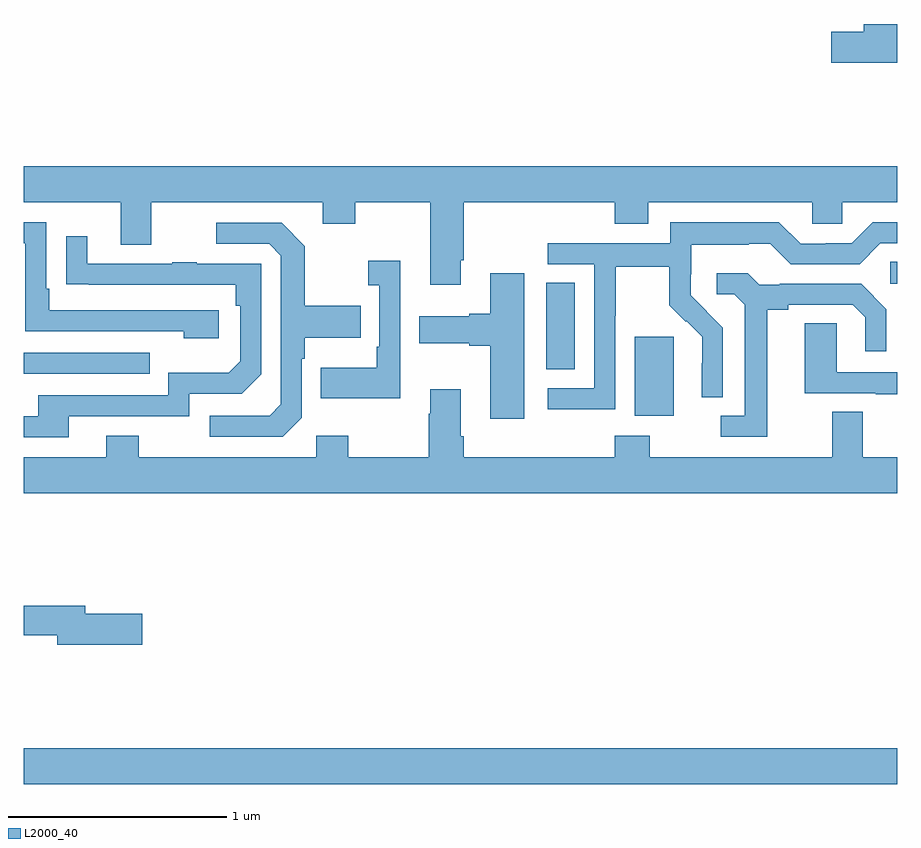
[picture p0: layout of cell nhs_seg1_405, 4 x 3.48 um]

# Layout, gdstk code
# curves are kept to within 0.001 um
import gdstk
lib = gdstk.Library(unit=1e-6, precision=1e-09)
def R(c, l, rs):  # rectangles x0, y0, x1, y1
    for r in rs: c.add(gdstk.rectangle(r[:2], r[2:], *l))
def P(c, l, *ps):  # polygons
    for p in ps: c.add(gdstk.Polygon(p, *l))
L2000_40 = (2000, 40)

nhs_seg1_405 = lib.new_cell('nhs_seg1_405')
R(nhs_seg1_405, L2000_40, [(133,546.404,137,546.568), (135.797,548.09,135.976,548.451), (133,548.283,133.577,548.379), (135.392,548.302,135.523,548.699), (136.968,548.694,137,548.795)])
P(nhs_seg1_405, L2000_40, [(137,549.884),(136.847,549.884),(136.847,549.848),(136.698,549.848),(136.698,549.706),(137,549.706)],
  [(135.001,548.803),(135.014,548.803),(135.014,549.068),(135.707,549.068),(135.707,548.969),(135.859,548.969),(135.859,549.068),(136.611,549.068),(136.611,548.97),(136.749,548.97),(136.749,549.068),(137,549.068),(137,549.232),(133,549.232),(133,549.068),(133.445,549.068),(133.445,548.874),(133.585,548.874),(133.585,549.068),(134.369,549.068),(134.369,548.969),(134.517,548.969),(134.517,549.068),(134.861,549.068),(134.861,548.691),(135.001,548.691)],
  [(135.708,548.548),(135.711,548.548),(135.711,548.772),(135.955,548.772),(135.955,548.597),(136.032,548.52),(136.035,548.523),(136.106,548.453),(136.106,548.33),(136.104,548.33),(136.104,548.176),(136.2,548.176),(136.2,548.494),(136.054,548.642),(136.054,548.739),(136.056,548.739),(136.056,548.873),(136.319,548.873),(136.319,548.877),(136.419,548.877),(136.512,548.784),(136.827,548.784),(136.923,548.88),(137,548.88),(137,548.976),(136.887,548.976),(136.791,548.88),(136.673,548.88),(136.673,548.877),(136.557,548.877),(136.457,548.977),(135.96,548.977),(135.96,548.88),(135.399,548.88),(135.399,548.784),(135.612,548.784),(135.612,548.217),(135.399,548.217),(135.399,548.119),(135.708,548.119)],
  [(133.894,548.574),(133.117,548.574),(133.117,548.671),(133.104,548.671),(133.104,548.976),(133,548.976),(133,548.88),(133.008,548.88),(133.008,548.478),(133.733,548.478),(133.733,548.444),(133.894,548.444)],
  [(134.274,548.082),(134.274,548.351),(134.287,548.351),(134.287,548.447),(134.543,548.447),(134.543,548.595),(134.287,548.595),(134.287,548.867),(134.181,548.973),(133.881,548.973),(133.881,548.877),(134.124,548.877),(134.178,548.823),(134.178,548.142),(134.127,548.091),(133.851,548.091),(133.851,547.995),(134.187,547.995)],
  [(133.207,548.088),(133.758,548.088),(133.758,548.19),(133.998,548.19),(134.088,548.28),(134.088,548.787),(133.793,548.787),(133.793,548.792),(133.681,548.792),(133.681,548.787),(133.291,548.787),(133.291,548.911),(133.195,548.911),(133.195,548.692),(133.972,548.691),(133.972,548.594),(133.992,548.594),(133.992,548.34),(133.939,548.287),(133.662,548.287),(133.662,548.184),(133.067,548.184),(133.067,548.088),(133,548.088),(133,547.992),(133.207,547.992)],
  [(134.724,548.8),(134.577,548.8),(134.577,548.687),(134.628,548.687),(134.628,548.407),(134.616,548.407),(134.616,548.311),(134.359,548.311),(134.359,548.171),(134.724,548.171)],
  [(136.405,548.576),(136.501,548.576),(136.501,548.598),(136.796,548.598),(136.853,548.541),(136.853,548.385),(136.95,548.385),(136.95,548.578),(136.834,548.694),(136.462,548.694),(136.462,548.691),(136.368,548.691),(136.316,548.743),(136.173,548.743),(136.173,548.646),(136.254,548.646),(136.301,548.599),(136.301,548.091),(136.191,548.091),(136.191,547.995),(136.405,547.995)],
  [(135.292,548.743),(135.137,548.743),(135.137,548.558),(135.041,548.558),(135.041,548.545),(134.811,548.545),(134.811,548.423),(135.041,548.423),(135.041,548.411),(135.137,548.411),(135.137,548.076),(135.292,548.076)],
  [(137,548.289),(136.722,548.289),(136.722,548.513),(136.577,548.513),(136.577,548.193),(136.901,548.193),(136.901,548.189),(137,548.189)],
  [(137,547.9),(136.843,547.9),(136.843,548.108),(136.703,548.108),(136.703,547.9),(135.867,547.9),(135.867,547.999),(135.707,547.999),(135.707,547.9),(135.014,547.9),(135.014,547.996),(135.001,547.996),(135.001,548.212),(134.861,548.212),(134.861,548.099),(134.854,548.099),(134.854,547.9),(134.487,547.9),(134.487,547.999),(134.34,547.999),(134.34,547.9),(133.527,547.9),(133.527,547.999),(133.379,547.999),(133.379,547.9),(133,547.9),(133,547.736),(137,547.736)],
  [(133.543,547.184),(133.282,547.184),(133.282,547.22),(133,547.22),(133,547.084),(133.154,547.084),(133.154,547.042),(133.543,547.042)])

lib.write_gds('nhs_seg1_405.gds')
